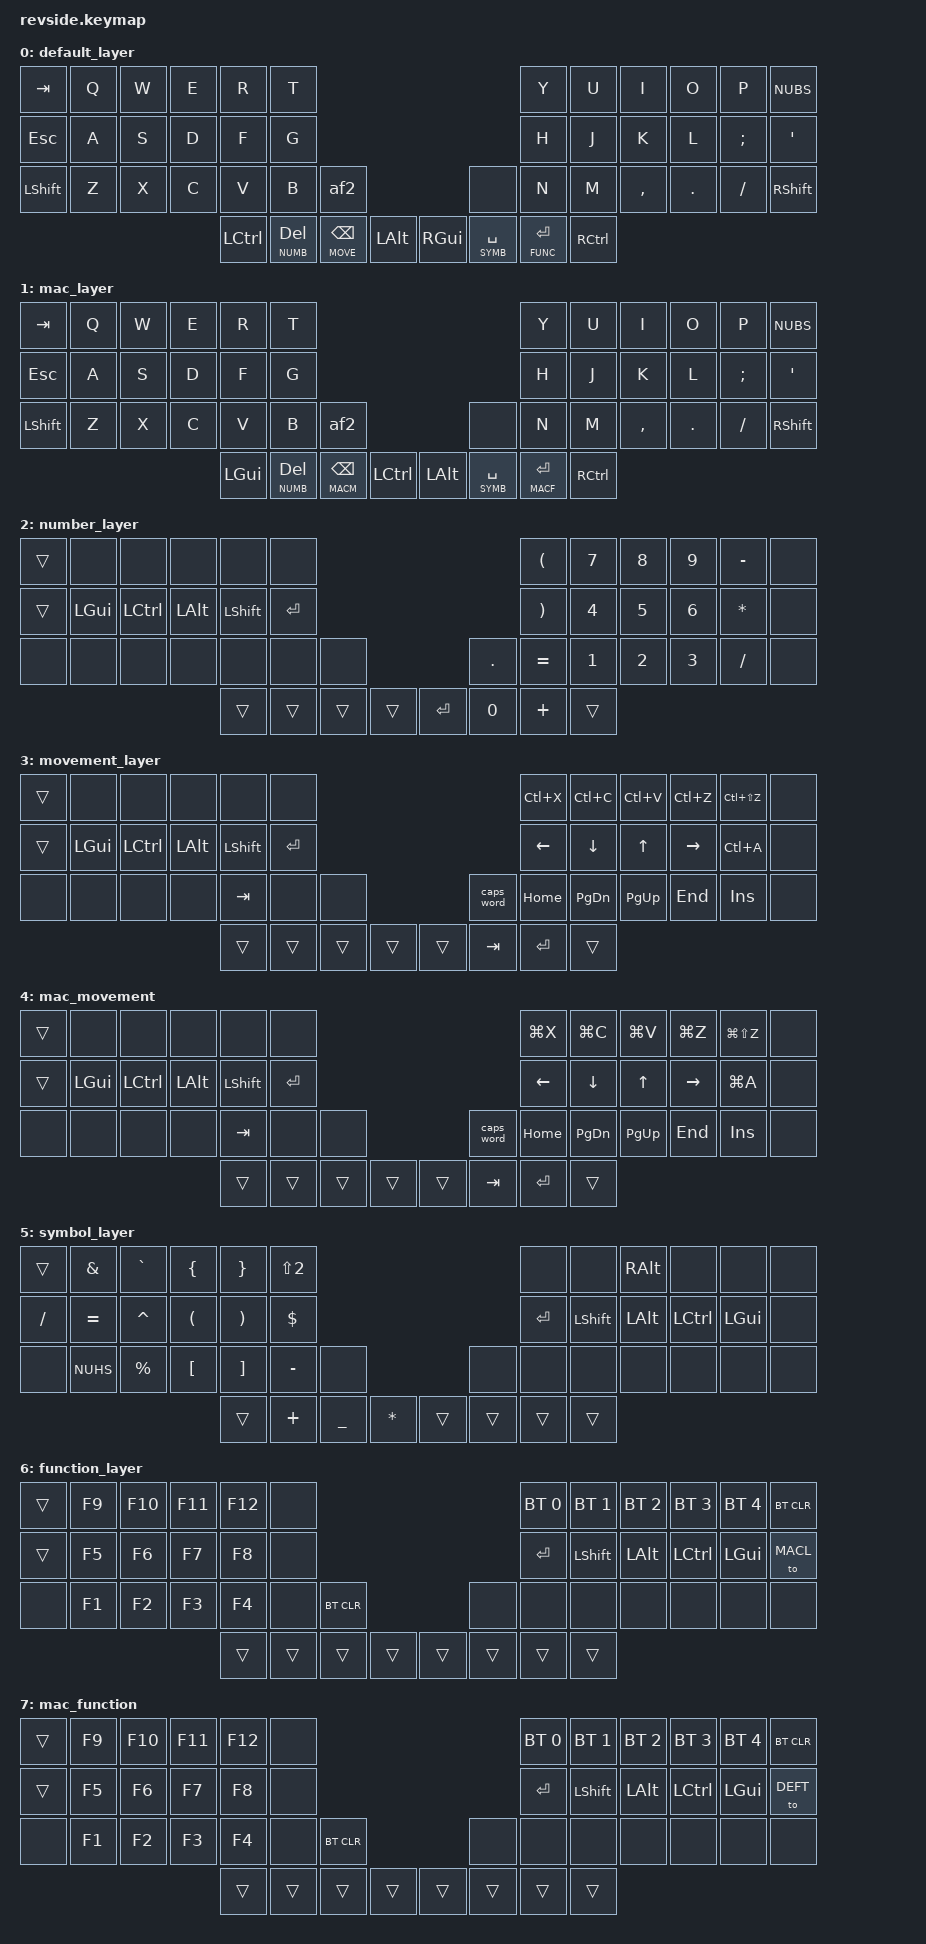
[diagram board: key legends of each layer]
/*
 * Copyright (c) 2020 The ZMK Contributors
 *
 * SPDX-License-Identifier: MIT
 */

#define DEFT 0
#define MACL 1 // Mac default layer
#define NUMB 2
#define MOVE 3
#define MACM 4 // Mac movement layer
#define SYMB 5
#define FUNC 6
#define MACF 7 // Mac funcion layer

#include <behaviors.dtsi>
#include <dt-bindings/zmk/keys.h>
#include <dt-bindings/zmk/bt.h>


/ {
    macros {
        af2: af2 {
            label = "AF2";
            compatible = "zmk,behavior-macro";
            #binding-cells = <0>;
            wait-ms = <0>;
            tap-ms = <0>;
            bindings
                = <&macro_tap &kp LA(F2)>;
        };
        scrsht: scrsht {
            label = "screenshot";
            compatible = "zmk,behavior-macro";
            #binding-cells = <0>;
            wait-ms = <0>;
            tap-ms = <0>;
            bindings
                = <&macro_tap &kp LG(LS(S))>;
        };
    };
};

&caps_word {
    continue-list = <UNDERSCORE MINUS BACKSPACE DELETE>;
};

/ {
	keymap {
		compatible = "zmk,keymap";

		default_layer {
			bindings = <
        &kp TAB   &kp Q &kp W &kp E    &kp R     &kp T                                                          &kp Y   &kp U     &kp I     &kp O   &kp P    &kp NUBS
        &kp ESC   &kp A &kp S &kp D    &kp F     &kp G                                                          &kp H   &kp J     &kp K     &kp L   &kp SEMI &kp SQT
        &kp LSHFT &kp Z &kp X &kp C    &kp V     &kp B        &af2                               &none          &kp N   &kp M     &kp COMMA &kp DOT &kp FSLH &kp RSHFT
                                       &kp LCTRL &lt NUMB DEL &lt MOVE BSPC &kp LALT    &kp RGUI &lt SYMB SPACE &lt FUNC RET &kp RCTRL
			>;

		};

		mac_layer {
			bindings = <
        &kp TAB   &kp Q &kp W &kp E    &kp R     &kp T                                                          &kp Y   &kp U     &kp I     &kp O   &kp P    &kp NUBS
        &kp ESC   &kp A &kp S &kp D    &kp F     &kp G                                                          &kp H   &kp J     &kp K     &kp L   &kp SEMI &kp SQT
        &kp LSHFT &kp Z &kp X &kp C    &kp V     &kp B       &af2                                &none          &kp N   &kp M     &kp COMMA &kp DOT &kp FSLH &kp RSHFT
                                       &kp LGUI &lt NUMB DEL &lt MACM BSPC &kp LCTRL    &kp LALT &lt SYMB SPACE &lt MACF RET &kp RCTRL
			>;

		};
        number_layer {
			bindings = <
        &trans &none    &none     &none    &none     &none                                       &kp LPAR  &kp N7  &kp N8 &kp N9 &kp MINUS &none
        &trans &kp LGUI &kp LCTRL &kp LALT &kp LSHFT &kp RET                                     &kp RPAR  &kp N4  &kp N5 &kp N6 &kp STAR  &none
        &none  &none    &none     &none    &none     &none  &none                        &kp DOT &kp EQUAL &kp N1  &kp N2 &kp N3 &kp FSLH  &none
                                           &trans    &trans &trans &trans      &kp RET   &kp N0  &kp PLUS  &trans
			>;

		};
        movement_layer {
			bindings = <
        &trans &none    &none     &none    &none     &none                                              &kp LC(X) &kp LC(C) &kp LC(V) &kp LC(Z) &kp LC(LS(Z)) &none
        &trans &kp LGUI &kp LCTRL &kp LALT &kp LSHFT &kp RET                                            &kp LEFT  &kp DOWN  &kp UP    &kp RIGHT &kp LC(A)     &none
        &none  &none    &none     &none    &kp TAB   &none  &none                            &caps_word &kp HOME  &kp PG_DN &kp PG_UP &kp END   &kp INS       &none
                                           &trans    &trans &trans &trans     &trans &kp TAB &kp RET    &trans
			>;

		};
        mac_movement {
			bindings = <
        &trans &none    &none     &none    &none     &none                                                &kp LG(X) &kp LG(C) &kp LG(V) &kp LG(Z) &kp LG(LS(Z)) &none
        &trans &kp LGUI &kp LCTRL &kp LALT &kp LSHFT &kp RET                                              &kp LEFT  &kp DOWN  &kp UP    &kp RIGHT &kp LG(A)     &none
        &none  &none    &none     &none    &kp TAB   &none  &none                              &caps_word &kp HOME  &kp PG_DN &kp PG_UP &kp END   &kp INS       &none
                                           &trans    &trans &trans &trans       &trans &kp TAB &kp RET    &trans
			>;

		};
        symbol_layer {
			bindings = <
        &trans   &kp AMPS  &kp GRAVE &kp LBRC &kp RBRC &kp LS(N2)                                  &none   &none     &kp RALT  &none     &none    &none
        &kp FSLH &kp EQUAL &kp CARET &kp LPAR &kp RPAR &kp DLLR                                    &kp RET &kp LSHFT &kp LALT  &kp LCTRL &kp LGUI &none
        &none    &kp NUHS  &kp PRCNT &kp LBKT &kp RBKT &kp MINUS &none                      &none  &none   &none     &none     &none     &none    &none
	                                          &trans   &kp PLUS  &kp UNDER &kp STAR    &trans &trans &trans  &trans
			>;

		};
        function_layer {
			bindings = <
        &trans &kp F9 &kp F10 &kp F11 &kp F12 &none                                     &bt BT_SEL 0  &bt BT_SEL 1 &bt BT_SEL 2 &bt BT_SEL 3 &bt BT_SEL 4 &bt BT_CLR
        &trans &kp F5 &kp F6  &kp F7  &kp F8  &none                                     &kp RET       &kp LSHFT    &kp LALT     &kp LCTRL    &kp LGUI     &to MACL
        &none  &kp F1 &kp F2  &kp F3  &kp F4  &none  &bt BT_CLR                  &none  &none         &none        &none        &none        &none        &none
	                                    &trans  &trans &trans     &trans    &trans &trans &trans        &trans
			>;

		};
        mac_function {
			bindings = <
        &trans &kp F9 &kp F10 &kp F11 &kp F12 &none                                     &bt BT_SEL 0  &bt BT_SEL 1 &bt BT_SEL 2 &bt BT_SEL 3 &bt BT_SEL 4 &bt BT_CLR
        &trans &kp F5 &kp F6  &kp F7  &kp F8  &none                                     &kp RET       &kp LSHFT    &kp LALT     &kp LCTRL    &kp LGUI     &to DEFT
        &none  &kp F1 &kp F2  &kp F3  &kp F4  &none  &bt BT_CLR                  &none  &none         &none        &none        &none        &none        &none
	                                    &trans  &trans &trans     &trans    &trans &trans &trans        &trans
			>;

		};
	};
};
